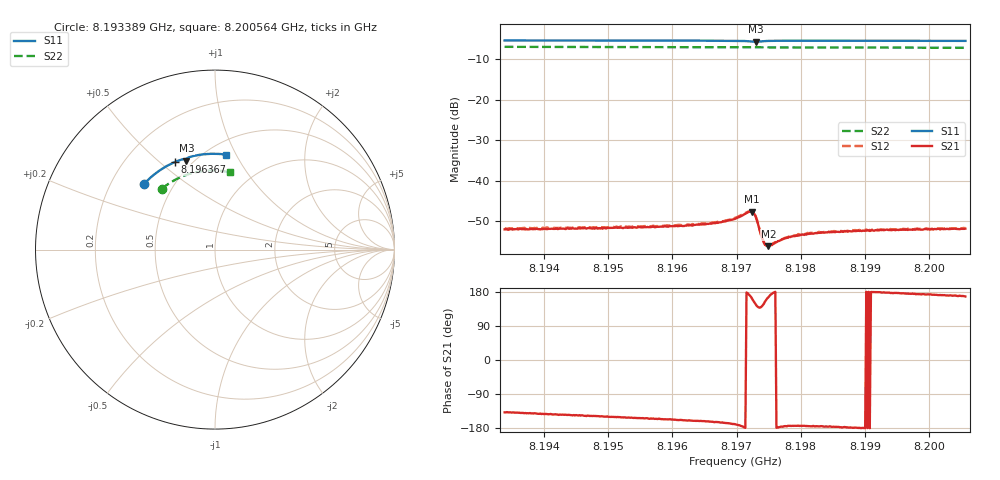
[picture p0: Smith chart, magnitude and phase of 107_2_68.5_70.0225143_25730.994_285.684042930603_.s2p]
#  HZ  S  RI  R  50.00
! Rohde & Schwarz Vector Network Analyzer
! Rohde-Schwarz,ZNB20-2Port,1311601062101988,3.16
! Created: UTC 3/20/2024, 4:53:18 PM
! freq[Hz]  re:S11  im:S11  re:S21  im:S21  re:S12  im:S12  re:S22  im:S22
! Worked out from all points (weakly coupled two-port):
!   401 points, 8.193389 GHz to 8.200564 GHz, reference 50 ohm
!   highest |S21| = -47.54 dB at 8.197246 GHz (marker M1); lowest = -56.1 dB at 8.197497 GHz (marker M2)
!   lowest |S11| = -5.7 dB at 8.1973 GHz (marker M3), VSWR 3.17, Z = 23 + j31.1 ohm
!   |S11| at or under -10 dB: nowhere
!   |S22| runs from -7.2 to -6.9 dB; largest |S21 - S12| = 0.00023
!   S11 on the Smith chart (normalised r, x): 8.193389 GHz: 0.34, +0.35; 8.196367 GHz: 0.41, +0.56; 8.200564 GHz: 0.62, +0.92
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8.1933889e9  -0.3945 0.3677  -0.00188 -0.00169  -0.002 -0.0017  -0.2962 0.3388
8.1945908e9  -0.3315 0.4244  -0.00218 -0.00147  -0.00227 -0.00138  -0.2416 0.3778
8.1957927e9  -0.2598 0.4704  -0.00246 -0.00116  -0.00259 -0.00106  -0.1817 0.4079
8.1963667e9  -0.2229 0.4883  -0.00272 -0.000952  -0.0028 -0.00085  -0.1515 0.4191
8.1967793e9  -0.1944 0.4993  -0.00303 -0.000825  -0.00311 -0.000697  -0.1294 0.4258
8.1969766e9  -0.1791 0.5034  -0.00334 -0.00063  -0.00348 -0.000472  -0.1185 0.4285
8.1971919e9  -0.1603 0.5019  -0.00415 0.000512  -0.00414 0.000691  -0.1066 0.431
8.1972457e9  -0.1575 0.4979  -0.00396 0.00138  -0.00396 0.00153  -0.1039 0.4316
8.1972636e9  -0.1577 0.4966  -0.00372 0.00167  -0.00372 0.00181  -0.1029 0.4316
8.1972995e9  -0.1595 0.4949  -0.00302 0.00198  -0.00296 0.00215  -0.101 0.4321
8.1974072e9  -0.1617 0.5025  -0.00153 0.00111  -0.00151 0.00117  -0.0951 0.4333
8.197443e9  -0.1596 0.5055  -0.00147 0.000718  -0.00144 0.000818  -0.0933 0.4339
8.197461e9  -0.1585 0.5068  -0.00149 0.000595  -0.00146 0.000682  -0.0922 0.4341
8.1974969e9  -0.1558 0.5089  -0.00152 0.00039  -0.00155 0.000415  -0.0903 0.4347
8.1975327e9  -0.1529 0.5107  -0.00161 0.000208  -0.00164 0.000245  -0.0882 0.4348
8.1976404e9  -0.1447 0.5145  -0.00181 -5.26e-05  -0.00185 1.49e-06  -0.0822 0.4358
8.1977839e9  -0.1337 0.5181  -0.00199 -0.000171  -0.00201 -0.000136  -0.0742 0.4371
8.1979991e9  -0.1179 0.522  -0.00214 -0.000243  -0.00219 -0.000127  -0.0623 0.4385
8.1981785e9  -0.105 0.5246  -0.00223 -0.000192  -0.00228 -0.00014  -0.0522 0.4396
8.1987885e9  -0.0617 0.5311  -0.00239 -7.23e-05  -0.00247 2.15e-05  -0.0176 0.4412
8.1993804e9  -0.0196 0.5335  -0.00248 9.23e-05  -0.00249 0.000201  0.0159 0.4402
8.2005644e9  0.064 0.5288  -0.00252 0.000553  -0.00255 0.000637  0.0822 0.4303
